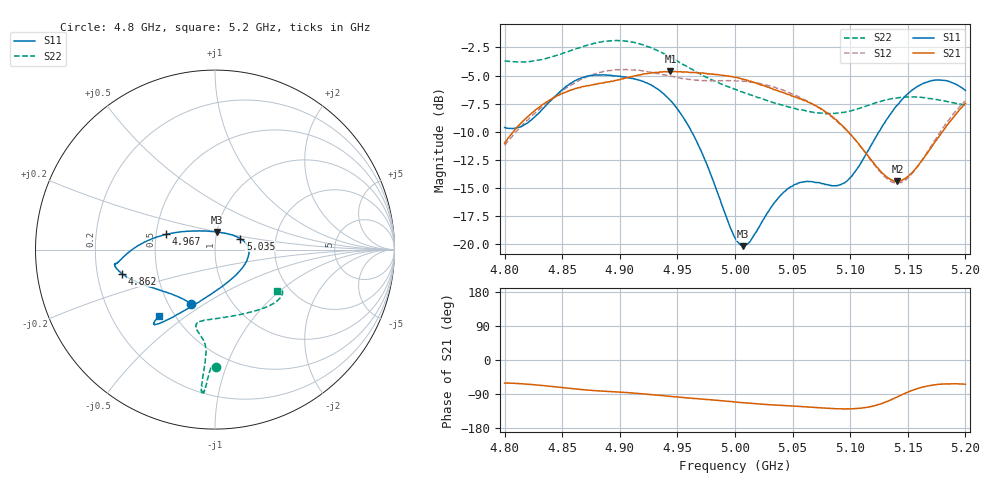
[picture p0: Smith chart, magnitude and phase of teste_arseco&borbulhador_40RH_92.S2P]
! Network Analyzer HP8722D
! Hewlett-Packard
! Data name: Linha & Wilkinson
! Saver's name: Rodrigo Anjos
! Comments: Teste da utilização de aquisição
! continua pelo VNA HP8722D
! Time and date: 15/4/2025 17:07
!  Frequency  S11  S21  S12  S22
# HZ  S  MA R 50
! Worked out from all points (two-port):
!   401 points, 4.8 GHz to 5.2 GHz, reference 50 ohm
!   highest |S21| = -4.64 dB at 4.944 GHz (marker M1); lowest = -14.4 dB at 5.141 GHz (marker M2)
!   |S21| within 3 dB of the highest: 4.832 GHz to 5.069 GHz (236.9 MHz wide, 4.79 % of centre); 5.198518 GHz to end of sweep
!   lowest |S11| = -20.2 dB at 5.007 GHz (marker M3), VSWR 1.22, Z = 50.1 + j9.87 ohm
!   |S11| at or under -10 dB: 4.962 GHz to 5.125 GHz (162.5 MHz wide, 3.22 % of centre)
!   |S22| runs from -8.4 to -1.9 dB; largest |S21 - S12| = 0.88
!   S11 on the Smith chart (normalised r, x): 4.8 GHz: 0.65, -0.44; 4.862 GHz: 0.31, -0.12; 4.967 GHz: 0.57, +0.10; 5.035 GHz: 1.32, +0.17; 5.2 GHz: 0.41, -0.40
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4.8e9  0.3307 -113.6  0.2816 -60.9  0.2751 -175.0  0.6539 -89.5
4.819e9  0.3445 -133.5  0.3649 -63.6  0.3532 -173.3  0.6485 -91.2
4.862e9  0.5356 -165.5  0.4935 -76.7  0.5258 -176.3  0.7399 -93.5
4.867e9  0.5497 -167.5  0.5021 -78.3  0.5415 -177.3  0.7552 -93.7
4.899e9  0.5578 -172.0  0.5372 -84.8  0.5959 176.0  0.8033 -94.9
4.934e9  0.4855 -177.8  0.5801 -93.2  0.5731 172.0  0.7202 -95.5
4.944e9  0.4352 177.6  0.5865 -95.9  0.5575 172.0  0.6788 -95.3
4.967e9  0.2847 162.6  0.5782 -101.8  0.5359 174.1  0.5802 -95.0
5e9  0.1069 107.3  0.5521 -110.7  0.5342 176.5  0.4885 -99.2
5.007e9  0.09814 83.6  0.5409 -112.5  0.53 176.5  0.4736 -100.9
5.014e9  0.1048 61.5  0.5298 -114.5  0.5257 176.3  0.4607 -102.6
5.035e9  0.1547 23.3  0.4859 -118.9  0.4978 175.1  0.4239 -103.8
5.05e9  0.1815 7.3  0.4556 -121.5  0.465 174.6  0.4039 -100.3
5.067e9  0.1898 -11.2  0.4209 -124.6  0.4217 173.9  0.3873 -91.9
5.087e9  0.1822 -43.7  0.3596 -128.5  0.3582 173.9  0.3816 -76.9
5.097e9  0.1906 -64.9  0.3212 -129.0  0.3206 174.4  0.3884 -68.5
5.134e9  0.3736 -116.0  0.1956 -106.9  0.1922 -159.8  0.4417 -43.4
5.141e9  0.4161 -120.0  0.1906 -97.1  0.1873 -148.7  0.4476 -40.2
5.153e9  0.4811 -124.8  0.2066 -81.1  0.2043 -130.1  0.4517 -35.9
5.17e9  0.5326 -128.5  0.2674 -66.9  0.2726 -113.0  0.4443 -32.1
5.184e9  0.532 -129.8  0.3378 -63.0  0.3485 -107.1  0.4314 -31.1
5.2e9  0.4828 -130.3  0.4231 -64.0  0.4344 -106.0  0.4154 -33.4
